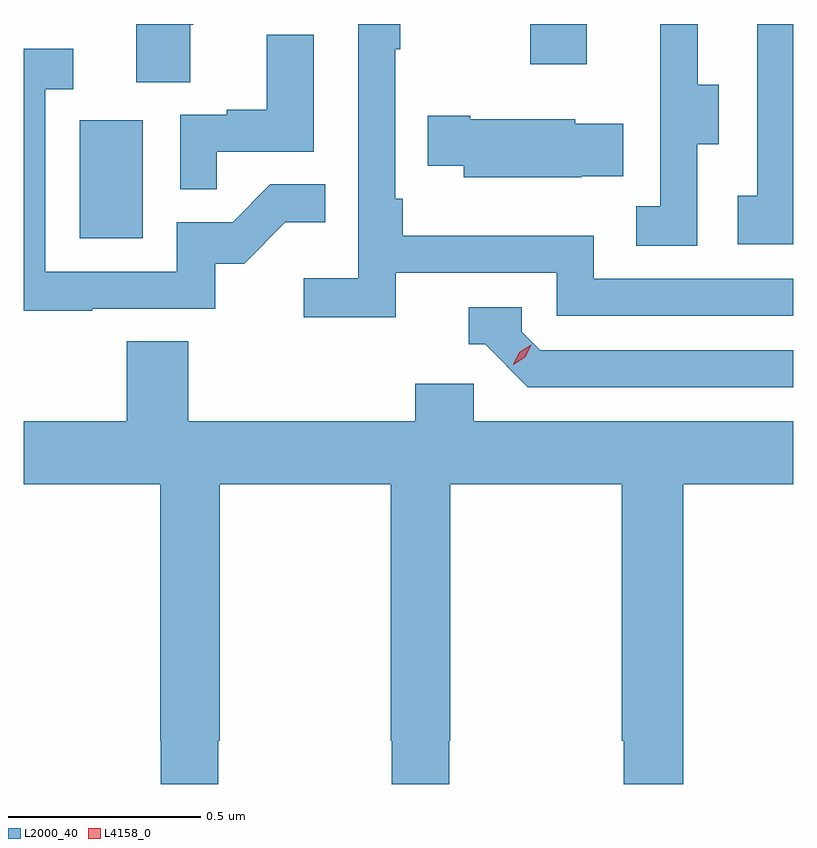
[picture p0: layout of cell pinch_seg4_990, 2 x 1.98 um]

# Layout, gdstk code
import gdstk
lib = gdstk.Library(unit=1e-6, precision=1e-09)
def R(c, l, rs):  # rectangles x0, y0, x1, y1
    for r in rs: c.add(gdstk.rectangle(r[:2], r[2:], *l))
def P(c, l, *ps):  # polygons
    for p in ps: c.add(gdstk.Polygon(p, *l))
L2000_40 = (2000, 40)
L4158_0 = (4158, 0)

pinch_seg4_990 = lib.new_cell('pinch_seg4_990')
R(pinch_seg4_990, L2000_40, [(860.846,778.812,861.01,779.119), (862.018,779.265,862.165,779.369)])
P(pinch_seg4_990, L2000_40, [(861.133,779.367),(861.141,779.367),(861.141,779.369),(860.993,779.369),(860.993,779.218),(861.133,779.218)],
  [(862.701,779.369),(862.608,779.369),(862.608,778.922),(862.557,778.922),(862.557,778.797),(862.701,778.797)],
  [(862.452,779.056),(862.507,779.056),(862.507,779.211),(862.453,779.211),(862.453,779.369),(862.355,779.369),(862.355,779.199),(862.356,779.199),(862.356,778.895),(862.293,778.895),(862.293,778.792),(862.452,778.792)],
  [(861.668,778.722),(862.086,778.722),(862.086,778.611),(862.701,778.611),(862.701,778.707),(862.182,778.707),(862.182,778.819),(861.686,778.819),(861.686,778.915),(861.666,778.915),(861.666,779.303),(861.679,779.303),(861.679,779.369),(861.57,779.369),(861.57,778.708),(861.429,778.708),(861.429,778.606),(861.668,778.606)],
  [(861.203,779.037),(861.454,779.037),(861.454,779.341),(861.332,779.341),(861.332,779.146),(861.229,779.146),(861.229,779.133),(861.108,779.133),(861.108,778.939),(861.203,778.939)],
  [(860.879,778.629),(861.198,778.629),(861.198,778.746),(861.274,778.746),(861.381,778.853),(861.485,778.853),(861.485,778.952),(861.342,778.952),(861.244,778.854),(861.099,778.854),(861.099,778.725),(860.757,778.725),(860.757,779.199),(860.83,779.199),(860.83,779.305),(860.701,779.305),(860.701,778.624),(860.879,778.624)],
  [(862.151,778.973),(862.259,778.973),(862.259,779.11),(862.134,779.11),(862.134,779.122),(861.862,779.122),(861.862,779.13),(861.751,779.13),(861.751,779),(861.845,779),(861.845,778.97),(862.151,778.97)],
  [(862.701,778.521),(862.044,778.521),(861.996,778.569),(861.996,778.632),(861.857,778.632),(861.857,778.536),(861.9,778.536),(862.011,778.425),(862.701,778.425)],
  [(861.207,777.505),(861.21,777.505),(861.21,778.172),(861.655,778.172),(861.655,777.505),(861.657,777.505),(861.657,777.393),(861.807,777.393),(861.807,777.505),(861.81,777.505),(861.81,778.172),(862.255,778.172),(862.255,777.505),(862.261,777.505),(862.261,777.393),(862.415,777.393),(862.415,778.172),(862.701,778.172),(862.701,778.336),(861.87,778.336),(861.87,778.434),(861.719,778.434),(861.719,778.336),(861.128,778.336),(861.128,778.544),(860.968,778.544),(860.968,778.336),(860.701,778.336),(860.701,778.172),(861.055,778.172),(861.055,777.505),(861.057,777.505),(861.057,777.393),(861.207,777.393)])
P(pinch_seg4_990, L4158_0, [(861.973,778.483),(861.973,778.483),(861.989,778.516),(862.02,778.535),(862.02,778.535),(862.02,778.535),(862.004,778.502),(861.973,778.483)])

lib.write_gds('pinch_seg4_990.gds')
